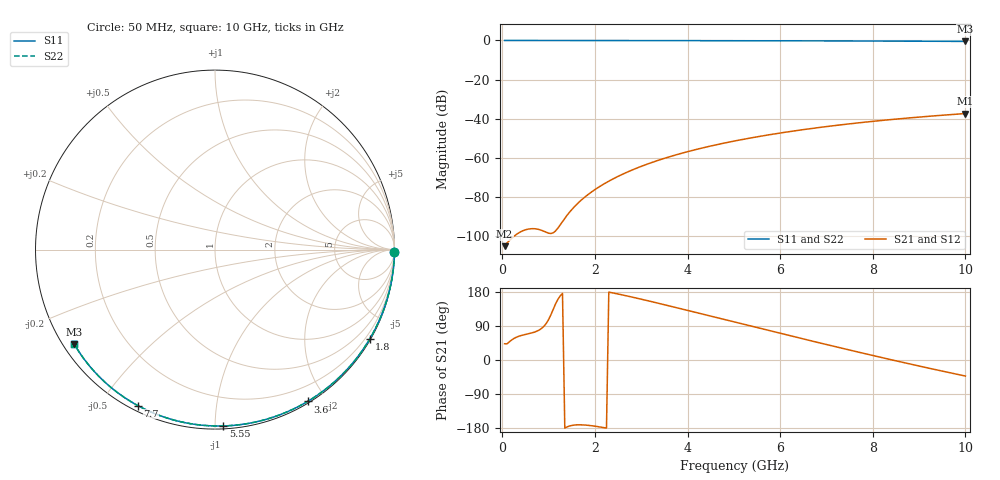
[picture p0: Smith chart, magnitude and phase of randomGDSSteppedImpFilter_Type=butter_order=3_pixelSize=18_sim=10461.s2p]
! freq	dB(S11)	phase(S11)	dB(S12)	phase(S12)
!  dB(S21)	phase(S21)	dB(S22)	phase(S22)
!S-par simulation data
#  GHz  S  DB  R 50
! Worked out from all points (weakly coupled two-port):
!   200 points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, 50 MHz to 10 GHz, reference 50 ohm
!   highest |S21| = -37.43 dB at 10 GHz (marker M1); lowest = -105.4 dB at 50 MHz (marker M2)
!   lowest |S11| = -0.5 dB at 10 GHz (marker M3), VSWR 35.24, Z = 1.55 - j15.2 ohm
!   |S11| at or under -10 dB: nowhere
!   |S22| runs from -0.5 to 0.0 dB; largest |S21 - S12| = 0
!   S11 on the Smith chart (normalised r, x): 50 MHz: open; 1.8 GHz: 0.03, -3.72; 3.6 GHz: 0.02, -1.78; 5.55 GHz: 0.02, -1.05; 7.7 GHz: 0.02, -0.62; 10 GHz: 0.03, -0.30
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0.05  -0.00 -0.9  -105.36 42.9  -105.36 42.9  -0.00 -0.9
0.45  -0.01 -7.6  -97.41 66.0  -97.41 66.0  -0.01 -7.6
0.9  -0.02 -15.2  -97.74 89.1  -97.74 89.1  -0.02 -15.2
1.3  -0.03 -21.8  -92.73 175.6  -92.73 175.6  -0.03 -21.8
1.75  -0.04 -29.2  -80.85 -171.4  -80.85 -171.4  -0.04 -29.2
1.8  -0.04 -30.1  -79.87 -171.8  -79.87 -171.8  -0.04 -30.1
1.95  -0.04 -32.5  -77.20 -173.7  -77.20 -173.7  -0.04 -32.5
2.1  -0.04 -34.9  -74.85 -176.5  -74.85 -176.5  -0.04 -34.9
2.3  -0.05 -38.2  -72.07 179.1  -72.07 179.1  -0.05 -38.2
2.5  -0.05 -41.4  -69.61 174.2  -69.61 174.2  -0.05 -41.4
2.9  -0.06 -47.7  -65.41 163.3  -65.41 163.3  -0.06 -47.7
3.4  -0.07 -55.5  -61.13 148.9  -61.13 148.9  -0.07 -55.5
3.6  -0.08 -58.6  -59.64 142.9  -59.64 142.9  -0.08 -58.6
4.3  -0.10 -69.2  -55.17 121.8  -55.17 121.8  -0.10 -69.2
5.05  -0.12 -80.1  -51.33 99.0  -51.33 99.0  -0.12 -80.1
5.55  -0.14 -87.3  -49.15 83.9  -49.15 83.9  -0.14 -87.3
6.1  -0.17 -94.9  -47.05 67.4  -47.05 67.4  -0.17 -94.9
6.7  -0.20 -103.1  -45.02 49.6  -45.02 49.6  -0.20 -103.1
7.7  -0.27 -116.4  -42.17 20.5  -42.17 20.5  -0.27 -116.4
8.35  -0.32 -124.8  -40.61 2.0  -40.61 2.0  -0.32 -124.8
9.2  -0.40 -135.8  -38.86 -21.3  -38.86 -21.3  -0.40 -135.8
10  -0.49 -146.1  -37.43 -42.3  -37.43 -42.3  -0.49 -146.1
